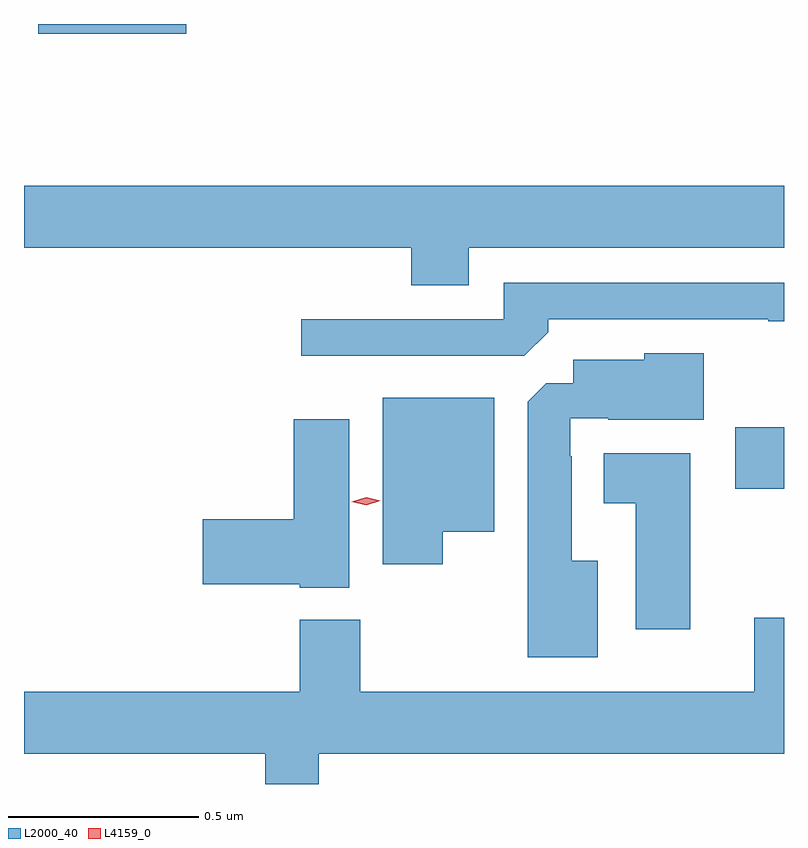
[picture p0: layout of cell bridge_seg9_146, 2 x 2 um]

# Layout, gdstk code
import gdstk
lib = gdstk.Library(unit=1e-6, precision=1e-09)
def R(c, l, rs):  # rectangles x0, y0, x1, y1
    for r in rs: c.add(gdstk.rectangle(r[:2], r[2:], *l))
def P(c, l, *ps):  # polygons
    for p in ps: c.add(gdstk.Polygon(p, *l))
L2000_40 = (2000, 40)
L4159_0 = (4159, 0)

bridge_seg9_146 = lib.new_cell('bridge_seg9_146')
R(bridge_seg9_146, L2000_40, [(583.65,1170.478,583.778,1170.64), (581.816,1171.675,582.205,1171.701)])
P(bridge_seg9_146, L2000_40, [(582.949,1171.112),(583.778,1171.112),(583.778,1171.276),(581.778,1171.276),(581.778,1171.112),(582.797,1171.112),(582.797,1171.013),(582.949,1171.013)],
  [(583.157,1170.89),(583.157,1170.924),(583.736,1170.924),(583.736,1170.919),(583.778,1170.919),(583.778,1171.02),(583.041,1171.02),(583.041,1170.924),(582.507,1170.924),(582.507,1170.828),(583.095,1170.828)],
  [(583.288,1170.289),(583.219,1170.289),(583.219,1170.563),(583.215,1170.563),(583.215,1170.663),(583.315,1170.663),(583.315,1170.659),(583.567,1170.659),(583.567,1170.835),(583.41,1170.835),(583.41,1170.817),(583.223,1170.817),(583.223,1170.756),(583.152,1170.756),(583.103,1170.707),(583.103,1170.035),(583.288,1170.035)],
  [(582.88,1170.365),(583.015,1170.365),(583.015,1170.718),(582.722,1170.718),(582.722,1170.279),(582.88,1170.279)],
  [(582.634,1170.661),(582.488,1170.661),(582.488,1170.398),(582.249,1170.398),(582.249,1170.227),(582.504,1170.227),(582.504,1170.218),(582.634,1170.218)],
  [(583.531,1170.571),(583.304,1170.571),(583.304,1170.44),(583.388,1170.44),(583.388,1170.108),(583.531,1170.108)],
  [(582.553,1169.78),(583.778,1169.78),(583.778,1170.139),(583.7,1170.139),(583.7,1169.944),(582.663,1169.944),(582.663,1170.133),(582.503,1170.133),(582.503,1169.944),(581.778,1169.944),(581.778,1169.78),(582.413,1169.78),(582.413,1169.701),(582.553,1169.701)])
P(bridge_seg9_146, L4159_0, [(582.678,1170.435),(582.64,1170.444),(582.64,1170.444),(582.64,1170.444),(582.678,1170.455),(582.716,1170.447),(582.716,1170.446),(582.716,1170.446)])

lib.write_gds('bridge_seg9_146.gds')
